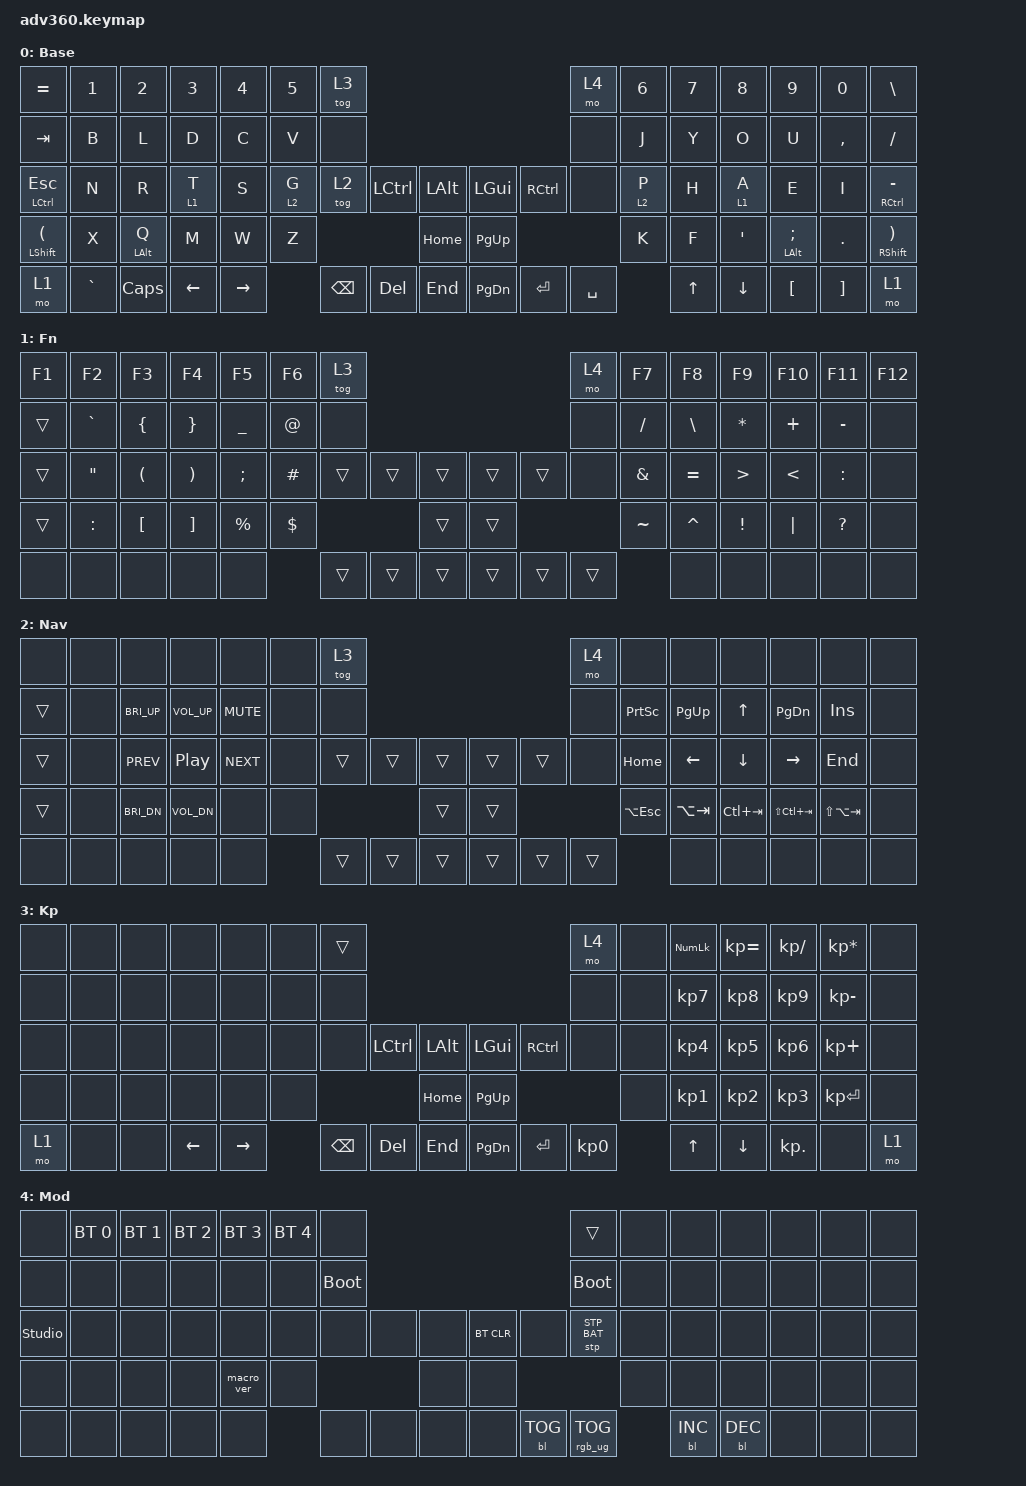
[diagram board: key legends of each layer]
#include <dt-bindings/zmk/stp.h>
#include <behaviors.dtsi>
#include <dt-bindings/zmk/backlight.h>
#include <dt-bindings/zmk/bt.h>
#include <dt-bindings/zmk/keys.h>
#include <dt-bindings/zmk/rgb.h>

/ {
    behaviors {
        #include "macros.dtsi"
      #include "version.dtsi"

        hm: homerow_mods {
            compatible = "zmk,behavior-hold-tap";
            label = "HOMEROW_MODS";
            #binding-cells = <2>;
            tapping-term-ms = <200>;
            quick_tap_ms = <175>;
            flavor = "tap-preferred";
            bindings = <&kp>, <&kp>;
        };
    };

    keymap {
        compatible = "zmk,keymap";

        default_layer {
            display-name = "Base";
            bindings = <
&kp EQUAL       &kp N1     &kp N2          &kp N3    &kp N4     &kp N5   &tog 3                                                   &mo 4      &kp N6   &kp N7  &kp N8    &kp N9             &kp N0     &kp BSLH
&kp TAB         &kp B      &kp L           &kp D     &kp C      &kp V    &none                                                    &none      &kp J    &kp Y   &kp O     &kp U              &kp COMMA  &kp FSLH
&mt LCTRL ESC   &kp N      &kp R           &lt 1 T   &kp S      &lt 2 G  &tog 2    &kp LCTRL  &kp LALT      &kp LGUI   &kp RCTRL  &none      &lt 2 P  &kp H   &lt 1 A   &kp E              &kp I      &mt RCTRL MINUS
&mt LSHFT LPAR  &kp X      &mt LEFT_ALT Q  &kp M     &kp W      &kp Z                         &kp HOME      &kp PG_UP                        &kp K    &kp F   &kp SQT   &mt LEFT_ALT SEMI  &kp DOT    &mt RSHFT RPAR
&mo 1           &kp GRAVE  &kp CAPS        &kp LEFT  &kp RIGHT           &kp BSPC  &kp DEL    &kp END       &kp PG_DN  &kp ENTER  &kp SPACE           &kp UP  &kp DOWN  &kp LBKT           &kp RBKT   &mo 1
            >;
        };

        fn {
            display-name = "Fn";
            bindings = <
&kp F1  &kp F2     &kp F3    &kp F4    &kp F5       &kp F6      &tog 3                                      &mo 4   &kp F7     &kp F8     &kp F9    &kp F10   &kp F11    &kp F12
&trans  &kp GRAVE  &kp LBRC  &kp RBRC  &kp UNDER    &kp AT      &none                                       &none   &kp FSLH   &kp BSLH   &kp STAR  &kp PLUS  &kp MINUS  &none
&trans  &kp DQT    &kp LPAR  &kp RPAR  &kp SEMI     &kp HASH    &trans  &trans  &trans      &trans  &trans  &none   &kp AMPS   &kp EQUAL  &kp GT    &kp LT    &kp COLON  &none
&trans  &kp COLON  &kp LBKT  &kp RBKT  &kp PERCENT  &kp DOLLAR                  &trans      &trans                  &kp TILDE  &kp CARET  &kp EXCL  &kp PIPE  &kp QMARK  &none
&none   &none      &none     &none     &none                    &trans  &trans  &trans      &trans  &trans  &trans             &none      &none     &none     &none      &none
            >;
        };

        navigation {
            display-name = "Nav";
            bindings = <
&none   &none  &none         &none             &none       &none  &tog 3                                      &mo 4   &none           &none        &none         &none            &none            &none
&trans  &none  &kp C_BRI_UP  &kp C_VOL_UP      &kp C_MUTE  &none  &none                                       &none   &kp PSCRN       &kp PG_UP    &kp UP_ARROW  &kp PG_DN        &kp INS          &none
&trans  &none  &kp C_PREV    &kp C_PLAY_PAUSE  &kp C_NEXT  &none  &trans  &trans  &trans      &trans  &trans  &none   &kp HOME        &kp LEFT     &kp DOWN      &kp RIGHT        &kp END          &none
&trans  &none  &kp C_BRI_DN  &kp C_VOL_DN      &none       &none                  &trans      &trans                  &kp LA(ESCAPE)  &kp LA(TAB)  &kp LC(TAB)   &kp LS(LC(TAB))  &kp LS(LA(TAB))  &none
&none   &none  &none         &none             &none              &trans  &trans  &trans      &trans  &trans  &trans                  &none        &none         &none            &none            &none
            >;
        };

        keypad {
            display-name = "Kp";
            bindings = <
&none  &none  &none  &none     &none      &none  &trans                                                   &mo 4      &none  &kp KP_NUM  &kp KP_EQUAL  &kp KP_DIVIDE  &kp KP_MULTIPLY  &none
&none  &none  &none  &none     &none      &none  &none                                                    &none      &none  &kp KP_N7   &kp KP_N8     &kp KP_N9      &kp KP_MINUS     &none
&none  &none  &none  &none     &none      &none  &none     &kp LCTRL  &kp LALT      &kp LGUI   &kp RCTRL  &none      &none  &kp KP_N4   &kp KP_N5     &kp KP_N6      &kp KP_PLUS      &none
&none  &none  &none  &none     &none      &none                       &kp HOME      &kp PG_UP                        &none  &kp KP_N1   &kp KP_N2     &kp KP_N3      &kp KP_ENTER     &none
&mo 1  &none  &none  &kp LEFT  &kp RIGHT         &kp BSPC  &kp DEL    &kp END       &kp PG_DN  &kp ENTER  &kp KP_N0         &kp UP      &kp DOWN      &kp KP_DOT     &none            &mo 1
            >;
        };

        mod {
            display-name = "Mod";
            bindings = <
&none           &bt BT_SEL 0  &bt BT_SEL 1  &bt BT_SEL 2  &bt BT_SEL 3  &bt BT_SEL 4  &none                                                  &trans           &none  &none       &none       &none  &none  &none
&none           &none         &none         &none         &none         &none         &bootloader                                            &bootloader      &none  &none       &none       &none  &none  &none
&studio_unlock  &none         &none         &none         &none         &none         &none        &none  &none      &bt BT_CLR  &none       &stp STP_BAT     &none  &none       &none       &none  &none  &none
&none           &none         &none         &none         &macro_ver    &none                             &none      &none                                    &none  &none       &none       &none  &none  &none
&none           &none         &none         &none         &none                       &none        &none  &none      &none       &bl BL_TOG  &rgb_ug RGB_TOG         &bl BL_INC  &bl BL_DEC  &none  &none  &none
            >;
        };

        extra2 {
            display-name = "Purple";
            status = "reserved";
        };

        extra3 {
            display-name = "Cyan";
            status = "reserved";
        };

        extra4 {
            display-name = "Yellow";
            status = "reserved";
        };
    };
};
